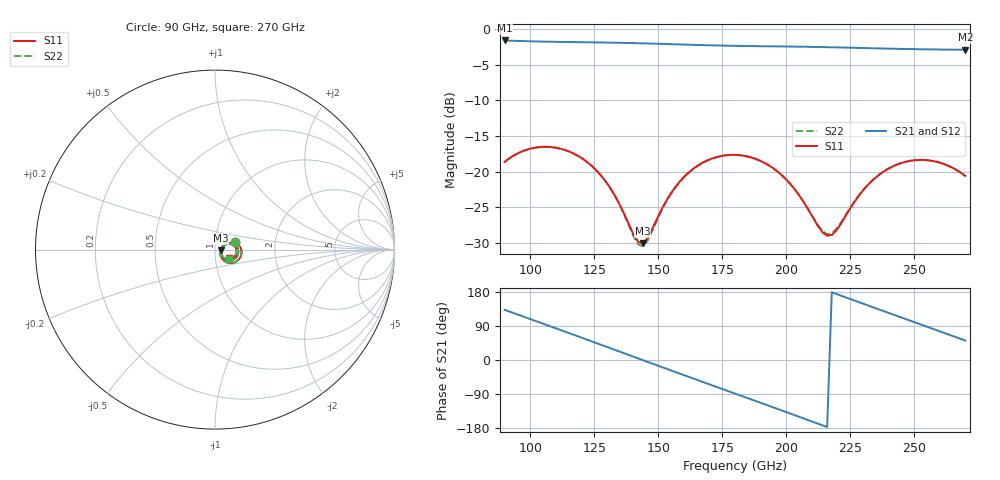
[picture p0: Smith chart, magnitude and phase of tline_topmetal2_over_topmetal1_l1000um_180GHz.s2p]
#  GHZ S DB R 50
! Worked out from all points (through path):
!   101 points, 90 GHz to 270 GHz, reference 50 ohm
!   highest |S21| = -1.61 dB at 90 GHz (marker M1); lowest = -2.9 dB at 270 GHz (marker M2)
!   group delay of S21, straight-line fit = 6.82 ps
!   lowest |S11| = -30.1 dB at 144 GHz (marker M3), VSWR 1.06, Z = 53.2 - j0.398 ohm
!   |S11| at or under -10 dB: start of sweep to end of sweep
!   |S22| runs from -30.5 to -16.5 dB; largest |S21 - S12| = 9.3e-14
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90  -18.65 20.4  -1.61 132.5  -1.61 132.5  -18.66 20.4
99  -16.89 3.8  -1.71 110.5  -1.71 110.5  -16.90 3.6
106.2  -16.53 -10.2  -1.77 92.9  -1.77 92.9  -16.53 -10.5
113.4  -16.95 -24.1  -1.82 75.3  -1.82 75.3  -16.95 -24.4
120.6  -18.24 -37.1  -1.85 57.6  -1.85 57.6  -18.24 -37.6
133.2  -23.45 -51.3  -1.92 26.5  -1.92 26.5  -23.49 -52.5
140.4  -28.85 -34.8  -1.98 8.6  -1.98 8.6  -29.10 -36.5
144  -30.07 -6.8  -2.01 -0.3  -2.01 -0.3  -30.47 -7.3
151.2  -25.38 26.5  -2.09 -18.1  -2.09 -18.1  -25.55 27.4
156.6  -22.20 26.7  -2.15 -31.4  -2.15 -31.4  -22.29 27.5
163.8  -19.57 18.2  -2.22 -49.1  -2.22 -49.1  -19.62 18.8
172.8  -17.97 3.4  -2.31 -71.0  -2.31 -71.0  -18.00 3.7
180  -17.65 -9.4  -2.36 -88.5  -2.36 -88.5  -17.67 -9.1
194.4  -19.40 -33.6  -2.43 -123.7  -2.43 -123.7  -19.41 -33.3
203.4  -22.52 -43.1  -2.47 -145.8  -2.47 -145.8  -22.51 -42.7
210.6  -26.56 -37.5  -2.51 -163.5  -2.51 -163.5  -26.47 -36.9
214.2  -28.53 -23.1  -2.54 -172.4  -2.54 -172.4  -28.36 -22.7
217.8  -28.89 -1.2  -2.56 178.7  -2.56 178.7  -28.68 -1.5
228.6  -23.29 25.3  -2.66 152.1  -2.66 152.1  -23.22 24.3
241.2  -19.35 12.3  -2.76 121.4  -2.76 121.4  -19.33 11.3
255.6  -18.43 -10.9  -2.86 86.3  -2.86 86.3  -18.43 -12.2
270  -20.61 -31.7  -2.92 51.2  -2.92 51.2  -20.66 -33.6
